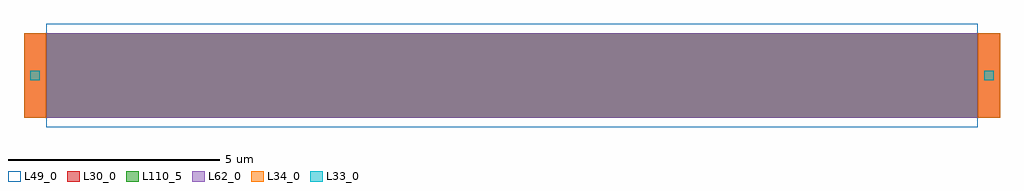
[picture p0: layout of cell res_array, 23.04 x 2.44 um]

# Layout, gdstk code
import gdstk
lib = gdstk.Library(unit=1e-6, precision=5e-10)
def R(c, l, rs):  # rectangles x0, y0, x1, y1
    for r in rs: c.add(gdstk.rectangle(r[:2], r[2:], *l))
L30_0 = (30, 0)
L33_0 = (33, 0)
L34_0 = (34, 0)
L49_0 = (49, 0)
L62_0 = (62, 0)
L110_5 = (110, 5)

res_array = lib.new_cell('res_array')
R(res_array, L30_0, [(0,0,23.04,2)])
R(res_array, L33_0, [(0.15,0.89,0.37,1.11), (22.67,0.89,22.89,1.11)])
R(res_array, L34_0, [(0,0,0.52,2), (22.52,0,23.04,2)])
R(res_array, L49_0, [(0.52,-0.22,22.52,2.22)])
R(res_array, L62_0, [(0.52,0,22.52,2)])
R(res_array, L110_5, [(0.52,0,22.52,2)])

lib.write_gds('res_array.gds')
